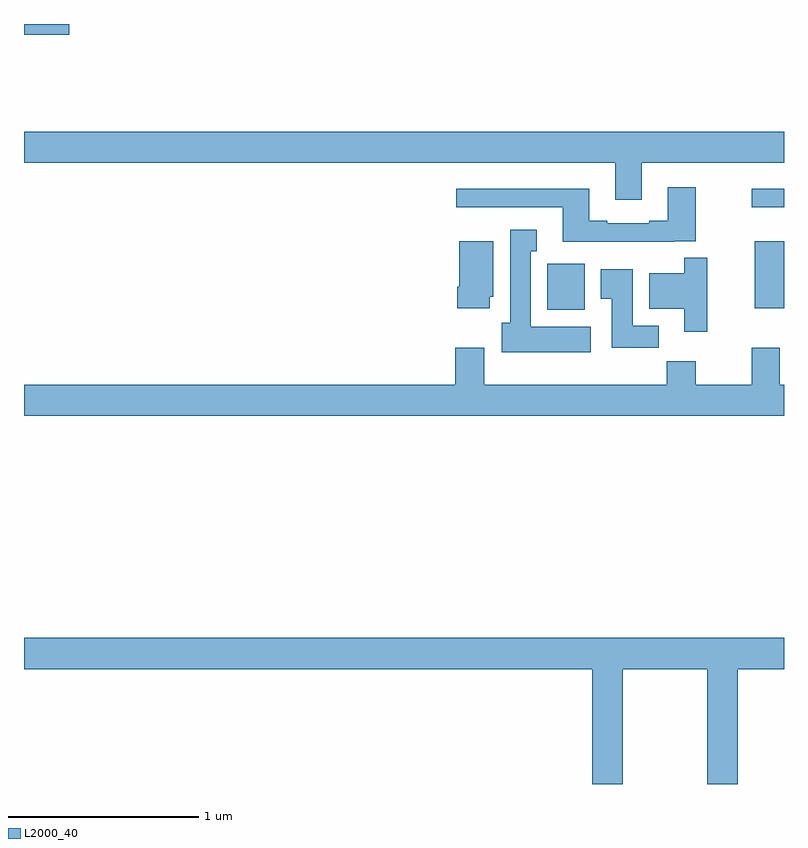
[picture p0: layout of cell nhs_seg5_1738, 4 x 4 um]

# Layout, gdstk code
import gdstk
lib = gdstk.Library(unit=1e-6, precision=1e-09)
def R(c, l, rs):  # rectangles x0, y0, x1, y1
    for r in rs: c.add(gdstk.rectangle(r[:2], r[2:], *l))
def P(c, l, *ps):  # polygons
    for p in ps: c.add(gdstk.Polygon(p, *l))
L2000_40 = (2000, 40)

nhs_seg5_1738 = lib.new_cell('nhs_seg5_1738')
R(nhs_seg5_1738, L2000_40, [(217.754,881.294,217.951,881.536), (218.846,881.304,219,881.656), (218.829,881.835,219,881.932), (215,882.743,215.239,882.799)])
P(nhs_seg5_1738, L2000_40, [(218.251,882.068),(219,882.068),(219,882.232),(215,882.232),(215,882.068),(218.111,882.068),(218.111,881.874),(218.251,881.874)],
  [(218.423,881.655),(218.535,881.655),(218.535,881.941),(218.387,881.941),(218.387,881.764),(218.291,881.764),(218.291,881.751),(218.071,881.751),(218.071,881.764),(217.975,881.764),(217.975,881.932),(217.275,881.932),(217.275,881.835),(217.835,881.835),(217.835,881.654),(218.423,881.654)],
  [(217.984,881.206),(217.666,881.206),(217.666,881.603),(217.699,881.603),(217.699,881.716),(217.559,881.716),(217.559,881.226),(217.514,881.226),(217.514,881.072),(217.984,881.072)],
  [(217.45,881.364),(217.471,881.364),(217.471,881.656),(217.292,881.656),(217.292,881.416),(217.28,881.416),(217.28,881.304),(217.45,881.304)],
  [(218.596,881.57),(218.474,881.57),(218.474,881.488),(218.291,881.488),(218.291,881.3),(218.474,881.3),(218.474,881.178),(218.596,881.178)],
  [(218.342,881.212),(218.203,881.212),(218.203,881.509),(218.036,881.509),(218.036,881.353),(218.093,881.353),(218.093,881.094),(218.342,881.094)],
  [(219,880.9),(218.977,880.9),(218.977,881.095),(218.83,881.095),(218.83,880.9),(218.535,880.9),(218.535,881.024),(218.383,881.024),(218.383,880.9),(217.423,880.9),(217.423,881.095),(217.271,881.095),(217.271,880.9),(215,880.9),(215,880.736),(219,880.736)],
  [(218.151,879.404),(218.596,879.404),(218.596,878.799),(218.756,878.799),(218.756,879.404),(219,879.404),(219,879.568),(215,879.568),(215,879.404),(217.991,879.404),(217.991,878.799),(218.151,878.799)])

lib.write_gds('nhs_seg5_1738.gds')
